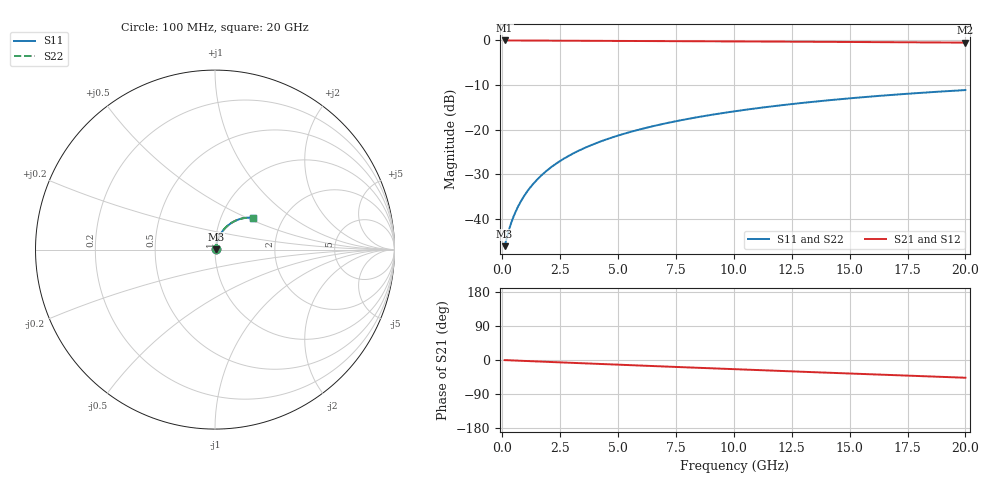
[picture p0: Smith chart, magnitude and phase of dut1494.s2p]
! Touchstone file exported from HFSS 2026.1.0
!  File:  C:/ffzhzh/LocalFiles/Ansys_Project_Files/temp_train_TMRDL_1494_1783167905_18472.aedt
!  Generated:  08:26:14 PM Jul  4, 2026
!  Design:  TMRDL
!  Project:  temp_train_TMRDL_1494_1783167905_18472
! Variables:
!  h_bsmrdl = 2um
!  h_ox = 20um
!  h_rdl = 5um
!  h_sub = 80um
!  h_tmrdl = 4.47um
!  h_tsv = 80um
!  h_via = 3um
!  l_bsmrdl = 300um
!  l_sub = 1198.24um
!  l_tmrdl = 798.24um
!  m_sub = 200um
!  pitch = 25.39um
!  r_tsv = 6um
!  s_tmrdl = 10um
!  w_bsmrdl = 18um
!  w_sub = 500um
!  w_tmrdl = 14.35um
!  x_tsv_center1 = 805.415um
!  x_tsv_center2 = 1123.415um
!  x_tsv_center3 = 1936.005um
!  x_tsv_center4 = 2254.005um
!  x_tsv_center5 = 3066.595um
!  x_tsv_center6 = 3384.595um
# GHz S MA R 50.000000
! Terminal data exported
! Port[1] = TM_RDL1_1_T1
! Port[2] = TM_RDL1_1_T2
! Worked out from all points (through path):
!   200 points, 100 MHz to 20 GHz, reference 50 ohm
!   highest |S21| = -0.04 dB at 100 MHz (marker M1); lowest = -0.5 dB at 20 GHz (marker M2)
!   group delay of S21, straight-line fit = 6.48 ps
!   lowest |S11| = -46.1 dB at 100 MHz (marker M3), VSWR 1.01, Z = 50.5 + j0.212 ohm
!   |S11| at or under -10 dB: start of sweep to end of sweep
!   |S22| runs from -46.1 to -11.1 dB; largest |S21 - S12| = 3.1e-15
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0.1  0.004981 24.9  0.9955 -0.3  0.9955 -0.3  0.004981 24.9
! Gamma 0 0 0 0
! Port Impedance 50 0 50 0
0.3  0.007771 49.5  0.995 -0.8  0.995 -0.8  0.007771 49.5
0.4  0.009324 55.4  0.9948 -1.0  0.9948 -1.0  0.009324 55.4
0.5  0.0109 59.5  0.9947 -1.3  0.9947 -1.3  0.0109 59.5
0.6  0.0125 62.7  0.9945 -1.5  0.9945 -1.5  0.0125 62.7
0.8  0.01576 67.1  0.9943 -2.0  0.9943 -2.0  0.01576 67.1
1  0.0191 69.9  0.9941 -2.5  0.9941 -2.5  0.0191 69.9
1.2  0.02248 71.7  0.9939 -3.0  0.9939 -3.0  0.02248 71.7
1.4  0.02589 73.0  0.9936 -3.5  0.9936 -3.5  0.02589 73.0
1.7  0.03103 74.1  0.9933 -4.3  0.9933 -4.3  0.03103 74.1
2.2  0.0396 74.7  0.9925 -5.5  0.9925 -5.5  0.0396 74.7
2.8  0.04981 74.6  0.9915 -7.0  0.9915 -7.0  0.04981 74.6
3.5  0.06155 73.8  0.9901 -8.7  0.9901 -8.7  0.06155 73.8
4.2  0.07308 72.6  0.9885 -10.4  0.9885 -10.4  0.07308 72.6
5  0.08598 71.1  0.9866 -12.4  0.9866 -12.4  0.08598 71.1
5.9  0.1001 69.3  0.9843 -14.5  0.9843 -14.5  0.1001 69.3
6.8  0.1139 67.4  0.9818 -16.7  0.9818 -16.7  0.1139 67.4
8.3  0.1361 64.3  0.9776 -20.2  0.9776 -20.2  0.1361 64.3
10.1  0.1616 60.4  0.9723 -24.4  0.9723 -24.4  0.1616 60.4
13.4  0.2049 53.4  0.9622 -32.0  0.9622 -32.0  0.2049 53.4
16.7  0.2437 46.4  0.9519 -39.5  0.9519 -39.5  0.2437 46.4
20  0.2775 39.5  0.9417 -46.8  0.9417 -46.8  0.2775 39.5
